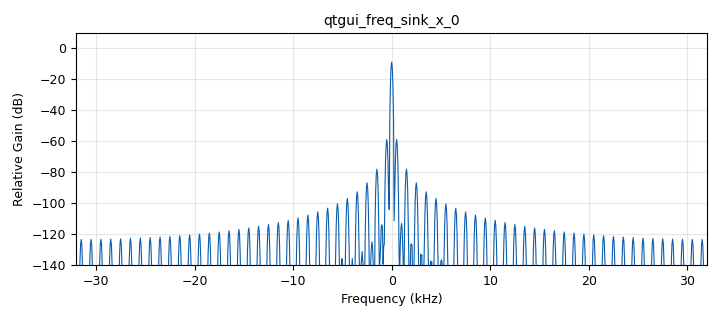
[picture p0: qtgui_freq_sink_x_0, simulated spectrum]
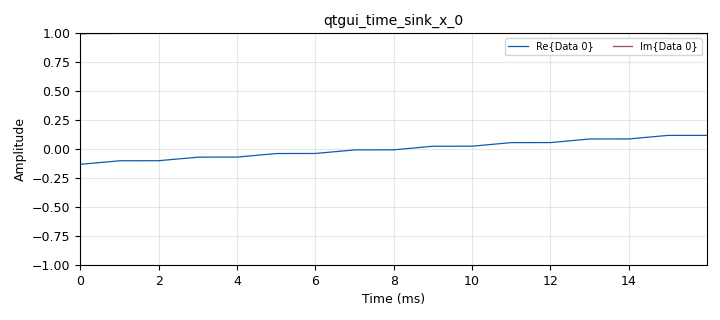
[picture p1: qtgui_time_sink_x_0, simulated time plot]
options:
  parameters:
    author: mike
    generate_options: qt_gui
    id: EJ_4
    output_language: python
    title: Not titled yet
  states: {}

blocks:
- name: samp_rate
  id: variable
  parameters:
    value: '64000'
  states: {}
- name: analog_frequency_modulator_fc_0
  id: analog_frequency_modulator_fc
  parameters:
    sensitivity: '6283.185'
  states: {}
- name: analog_sig_source_x_0
  id: analog_sig_source_x
  parameters:
    amp: '1'
    freq: '500'
    offset: '0'
    phase: '0'
    samp_rate: samp_rate
    type: float
    waveform: analog.GR_SQR_WAVE
  states: {}
- name: qtgui_freq_sink_x_0
  id: qtgui_freq_sink_x
  parameters:
    bw: samp_rate
    fc: '0'
    fftsize: '1024'
    type: complex
  states: {}
- name: qtgui_time_sink_x_0
  id: qtgui_time_sink_x
  parameters:
    size: '1024'
    srate: samp_rate
    type: complex
  states: {}

connections:
- [analog_frequency_modulator_fc_0, '0', qtgui_freq_sink_x_0, '0']
- [analog_frequency_modulator_fc_0, '0', qtgui_time_sink_x_0, '0']
- [analog_sig_source_x_0, '0', analog_frequency_modulator_fc_0, '0']

metadata:
  file_format: 1
  grc_version: 3.10.12.0
